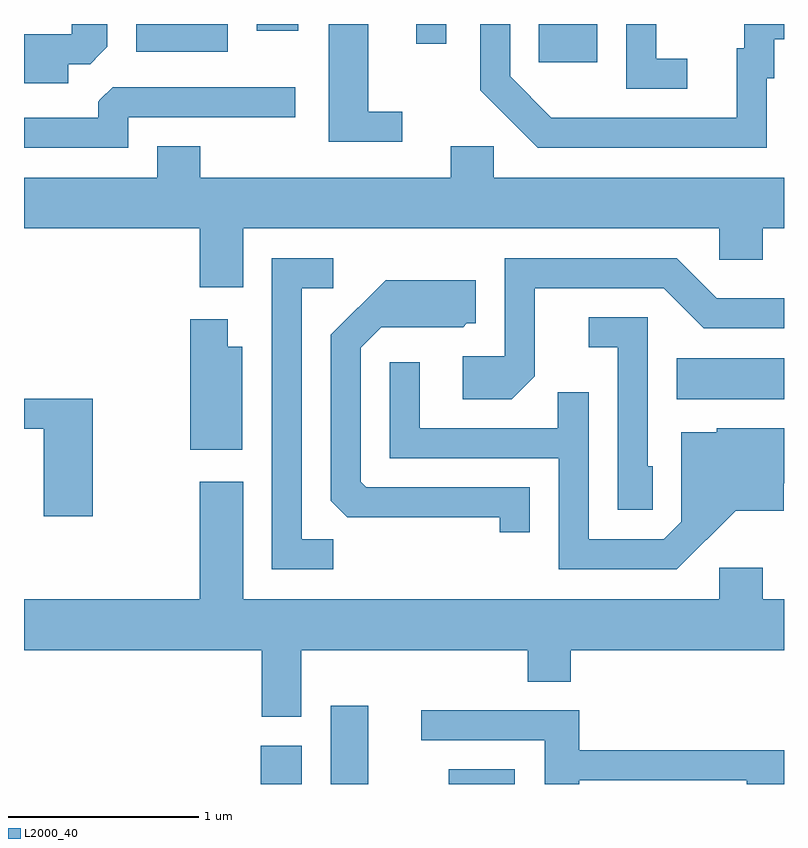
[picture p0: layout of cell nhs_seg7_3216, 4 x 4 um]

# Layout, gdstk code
import gdstk
lib = gdstk.Library(unit=1e-6, precision=1e-09)
def R(c, l, rs):  # rectangles x0, y0, x1, y1
    for r in rs: c.add(gdstk.rectangle(r[:2], r[2:], *l))
def P(c, l, *ps):  # polygons
    for p in ps: c.add(gdstk.Polygon(p, *l))
L2000_40 = (2000, 40)

nhs_seg7_3216 = lib.new_cell('nhs_seg7_3216')
R(nhs_seg7_3216, L2000_40, [(284.856,1740.252,285.074,1740.454), (285.226,1740.252,285.424,1740.664), (285.846,1740.252,286.194,1740.329), (287.046,1742.276,287.611,1742.494), (286.321,1744.051,286.629,1744.252), (284.201,1744.106,284.684,1744.252), (285.676,1744.148,285.834,1744.252), (284.836,1744.216,285.054,1744.252)])
P(nhs_seg7_3216, L2000_40, [(287.103,1744.069),(286.939,1744.069),(286.939,1744.252),(286.781,1744.252),(286.781,1743.911),(287.103,1743.911)],
  [(285.603,1743.789),(285.424,1743.789),(285.424,1744.252),(285.216,1744.252),(285.216,1743.631),(285.603,1743.631)],
  [(287.519,1743.966),(287.559,1743.966),(287.559,1744.171),(287.611,1744.171),(287.611,1744.252),(287.401,1744.252),(287.401,1744.124),(287.361,1744.124),(287.361,1743.759),(286.387,1743.759),(286.169,1743.977),(286.169,1744.252),(286.011,1744.252),(286.011,1743.904),(286.314,1743.601),(287.519,1743.601)],
  [(283.844,1744.041),(283.959,1744.041),(284.013,1744.095),(284.049,1744.132),(284.049,1744.252),(283.861,1744.252),(283.861,1744.199),(283.611,1744.199),(283.611,1743.941),(283.844,1743.941)],
  [(284.159,1743.761),(285.038,1743.761),(285.038,1743.919),(284.077,1743.919),(284.013,1743.855),(284.001,1743.844),(284.001,1743.759),(283.611,1743.759),(283.611,1743.601),(284.159,1743.601)],
  [(284.764,1743.176),(287.271,1743.176),(287.271,1743.011),(287.499,1743.011),(287.499,1743.176),(287.611,1743.176),(287.611,1743.444),(286.084,1743.444),(286.084,1743.609),(285.856,1743.609),(285.856,1743.444),(284.539,1743.444),(284.539,1743.609),(284.311,1743.609),(284.311,1743.444),(283.611,1743.444),(283.611,1743.176),(284.536,1743.176),(284.536,1742.866),(284.764,1742.866)],
  [(286.299,1742.399),(286.299,1742.861),(286.979,1742.861),(287.189,1742.651),(287.611,1742.651),(287.611,1742.809),(287.257,1742.809),(287.047,1743.019),(286.141,1743.019),(286.141,1742.504),(285.921,1742.504),(285.921,1742.276),(286.177,1742.276)],
  [(285.238,1741.539),(285.074,1741.539),(285.074,1742.861),(285.238,1742.861),(285.238,1743.019),(284.916,1743.019),(284.916,1741.381),(285.238,1741.381)],
  [(286.274,1741.814),(285.412,1741.814),(285.384,1741.842),(285.384,1742.549),(285.492,1742.656),(285.922,1742.656),(285.942,1742.676),(285.989,1742.676),(285.989,1742.904),(285.514,1742.904),(285.226,1742.617),(285.226,1741.742),(285.312,1741.656),(286.116,1741.656),(286.116,1741.578),(286.274,1741.578)],
  [(286.919,1741.924),(286.894,1741.924),(286.894,1742.709),(286.583,1742.709),(286.583,1742.551),(286.736,1742.551),(286.736,1741.696),(286.919,1741.696)],
  [(284.759,1742.554),(284.684,1742.554),(284.684,1742.699),(284.486,1742.699),(284.486,1742.011),(284.759,1742.011)],
  [(287.357,1741.691),(287.609,1741.691),(287.609,1741.836),(287.611,1741.836),(287.611,1742.124),(287.256,1742.124),(287.256,1742.104),(287.071,1742.104),(287.071,1741.632),(286.979,1741.539),(286.584,1741.539),(286.584,1742.313),(286.421,1742.313),(286.421,1742.124),(285.694,1742.124),(285.694,1742.473),(285.536,1742.473),(285.536,1741.966),(286.426,1741.966),(286.426,1741.381),(287.047,1741.381)],
  [(283.974,1742.279),(283.611,1742.279),(283.611,1742.121),(283.716,1742.121),(283.716,1741.661),(283.974,1741.661)],
  [(285.069,1740.956),(286.261,1740.956),(286.261,1740.791),(286.489,1740.791),(286.489,1740.956),(287.611,1740.956),(287.611,1741.224),(287.499,1741.224),(287.499,1741.389),(287.271,1741.389),(287.271,1741.224),(284.764,1741.224),(284.764,1741.844),(284.536,1741.844),(284.536,1741.224),(283.611,1741.224),(283.611,1740.956),(284.861,1740.956),(284.861,1740.606),(285.069,1740.606)],
  [(286.534,1740.271),(287.416,1740.271),(287.416,1740.252),(287.611,1740.252),(287.611,1740.429),(286.534,1740.429),(286.534,1740.639),(285.703,1740.639),(285.703,1740.481),(286.351,1740.481),(286.351,1740.252),(286.534,1740.252)])

lib.write_gds('nhs_seg7_3216.gds')
